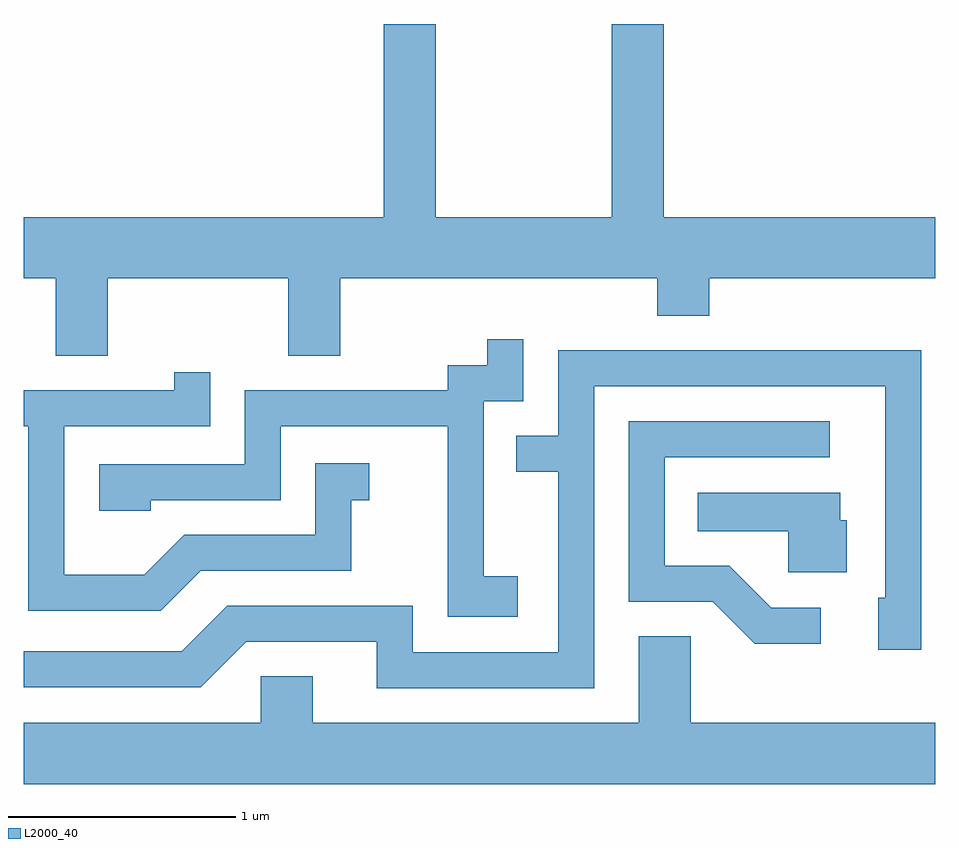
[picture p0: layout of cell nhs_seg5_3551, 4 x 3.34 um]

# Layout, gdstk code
import gdstk
lib = gdstk.Library(unit=1e-6, precision=1e-09)
def P(c, l, *ps):  # polygons
    for p in ps: c.add(gdstk.Polygon(p, *l))
L2000_40 = (2000, 40)

nhs_seg5_3551 = lib.new_cell('nhs_seg5_3551')
P(nhs_seg5_3551, L2000_40, [(292.191,1520.072),(292.191,1519.224),(291.419,1519.224),(291.419,1520.072),(291.191,1520.072),(291.191,1519.224),(289.611,1519.224),(289.611,1518.956),(289.751,1518.956),(289.751,1518.616),(289.979,1518.616),(289.979,1518.956),(290.771,1518.956),(290.771,1518.616),(290.999,1518.616),(290.999,1518.956),(292.391,1518.956),(292.391,1518.791),(292.619,1518.791),(292.619,1518.956),(293.611,1518.956),(293.611,1519.224),(292.419,1519.224),(292.419,1520.072)],
  [(291.779,1517.649),(291.629,1517.649),(291.629,1518.416),(291.804,1518.416),(291.804,1518.688),(291.646,1518.688),(291.646,1518.574),(291.471,1518.574),(291.471,1518.464),(290.581,1518.464),(290.581,1518.139),(289.941,1518.139),(289.941,1517.936),(290.169,1517.936),(290.169,1517.981),(290.739,1517.981),(290.739,1518.306),(291.471,1518.306),(291.471,1517.471),(291.779,1517.471)],
  [(292.114,1518.481),(293.391,1518.481),(293.391,1517.554),(293.361,1517.554),(293.361,1517.326),(293.549,1517.326),(293.549,1518.639),(291.956,1518.639),(291.956,1518.264),(291.773,1518.264),(291.773,1518.106),(291.956,1518.106),(291.956,1517.314),(291.319,1517.314),(291.319,1517.519),(290.504,1517.519),(290.304,1517.319),(289.611,1517.319),(289.611,1517.161),(290.387,1517.161),(290.587,1517.361),(291.161,1517.361),(291.161,1517.156),(292.114,1517.156)],
  [(290.387,1517.671),(291.049,1517.671),(291.049,1517.981),(291.128,1517.981),(291.128,1518.144),(290.891,1518.144),(290.891,1517.829),(290.314,1517.829),(290.139,1517.654),(289.789,1517.654),(289.789,1518.306),(290.429,1518.306),(290.429,1518.543),(290.271,1518.543),(290.271,1518.464),(289.611,1518.464),(289.611,1518.306),(289.631,1518.306),(289.631,1517.496),(290.212,1517.496)],
  [(293.108,1517.509),(292.892,1517.509),(292.707,1517.694),(292.424,1517.694),(292.424,1518.171),(293.148,1518.171),(293.148,1518.329),(292.266,1518.329),(292.266,1517.536),(292.634,1517.536),(292.819,1517.351),(293.108,1517.351)],
  [(293.224,1517.894),(293.194,1517.894),(293.194,1518.014),(292.568,1518.014),(292.568,1517.846),(292.966,1517.846),(292.966,1517.666),(293.224,1517.666)],
  [(293.611,1517.004),(292.539,1517.004),(292.539,1517.384),(292.311,1517.384),(292.311,1517.004),(290.879,1517.004),(290.879,1517.209),(290.651,1517.209),(290.651,1517.004),(289.611,1517.004),(289.611,1516.736),(293.611,1516.736)])

lib.write_gds('nhs_seg5_3551.gds')
